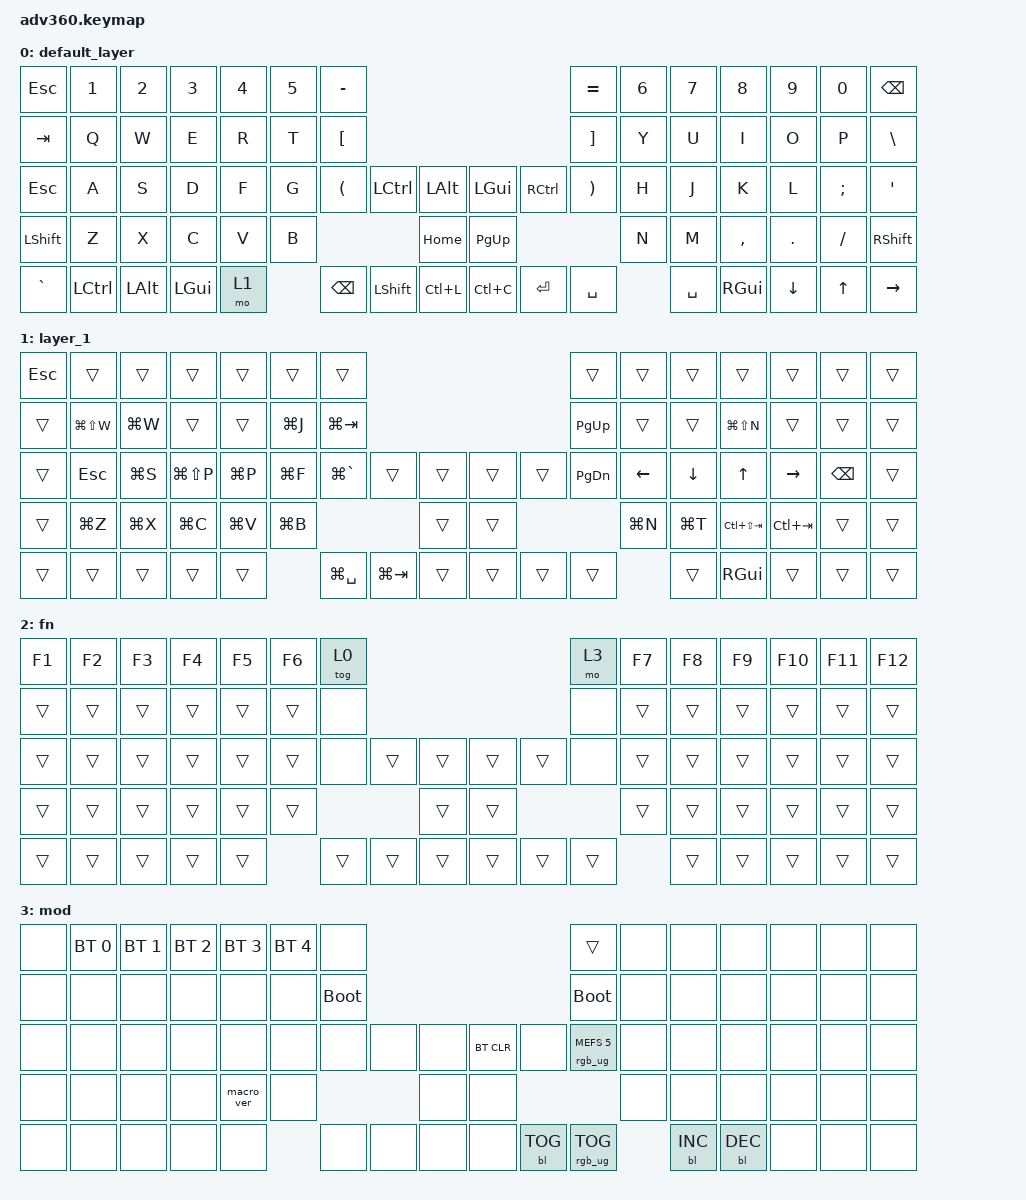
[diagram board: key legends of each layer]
#include <behaviors.dtsi>
#include <dt-bindings/zmk/backlight.h>
#include <dt-bindings/zmk/bt.h>
#include <dt-bindings/zmk/keys.h>
#include <dt-bindings/zmk/rgb.h>

/ {
    behaviors {
        #include "macros.dtsi"
      #include "version.dtsi"
      #ifndef VERSION_MACRO

        macro_ver: macro_ver {
            compatible = "zmk,behavior-macro";
            label = "macro_version";
            #binding-cells = <0>;
            bindings = <&kp RET>;
        };

        #endif

        hm: homerow_mods {
            compatible = "zmk,behavior-hold-tap";
            label = "HOMEROW_MODS";
            #binding-cells = <2>;
            tapping-term-ms = <200>;
            quick_tap_ms = <175>;
            flavor = "tap-preferred";
            bindings = <&kp>, <&kp>;
        };
    };

    macros {
    };

    combos {
        compatible = "zmk,combos";

        Layer1 {
            bindings = <&sl 1>;
            key-positions = <41 42>;
        };
    };

    keymap {
        compatible = "zmk,keymap";

        default_layer {
            bindings = <
&kp ESC    &kp N1            &kp N2    &kp N3    &kp N4  &kp N5  &kp MINUS                                                                  &kp EQUAL              &kp N6  &kp N7     &kp N8     &kp N9    &kp N0        &kp BACKSPACE
&kp TAB    &kp Q             &kp W     &kp E     &kp R   &kp T   &kp LEFT_BRACKET                                                           &kp RIGHT_BRACKET      &kp Y   &kp U      &kp I      &kp O     &kp P         &kp BSLH
&kp ESC    &kp A             &kp S     &kp D     &kp F   &kp G   &kp LEFT_PARENTHESIS  &kp LCTRL       &kp LALT       &kp LGUI   &kp RCTRL  &kp RIGHT_PARENTHESIS  &kp H   &kp J      &kp K      &kp L     &kp SEMI      &kp SQT
&kp LSHFT  &kp Z             &kp X     &kp C     &kp V   &kp B                                         &kp HOME       &kp PG_UP                                    &kp N   &kp M      &kp COMMA  &kp DOT   &kp FSLH      &kp RSHFT
&kp GRAVE  &kp LEFT_CONTROL  &kp LALT  &kp LGUI  &mo 1           &kp BACKSPACE         &kp LEFT_SHIFT  &kp LC(L)      &kp LC(C)  &kp ENTER  &kp SPACE                      &kp SPACE  &kp RGUI   &kp DOWN  &kp UP_ARROW  &kp RIGHT
            >;
        };

        layer_1 {
            bindings = <
&kp ESC  &trans         &trans     &trans         &trans     &trans     &trans                                                  &trans         &trans     &trans     &trans           &trans       &trans         &trans
&trans   &kp LG(LS(W))  &kp LG(W)  &trans         &trans     &kp LG(J)  &kp LG(TAB)                                             &kp PAGE_UP    &trans     &trans     &kp LG(LS(N))    &trans       &trans         &trans
&trans   &kp ESC        &kp LG(S)  &kp LG(LS(P))  &kp LG(P)  &kp LG(F)  &kp LG(GRAVE)  &trans       &trans      &trans  &trans  &kp PAGE_DOWN  &kp LEFT   &kp DOWN   &kp UP_ARROW     &kp RIGHT    &kp BACKSPACE  &trans
&trans   &kp LG(Z)      &kp LG(X)  &kp LG(C)      &kp LG(V)  &kp LG(B)                              &trans      &trans                         &kp LG(N)  &kp LG(T)  &kp LC(LS(TAB))  &kp LC(TAB)  &trans         &trans
&trans   &trans         &trans     &trans         &trans                &kp LG(SPACE)  &kp LG(TAB)  &trans      &trans  &trans  &trans                    &trans     &kp RGUI         &trans       &trans         &trans
            >;
        };

        fn {
            bindings = <
&kp F1  &kp F2  &kp F3  &kp F4  &kp F5  &kp F6  &tog 0                                      &mo 3   &kp F7  &kp F8  &kp F9  &kp F10  &kp F11  &kp F12
&trans  &trans  &trans  &trans  &trans  &trans  &none                                       &none   &trans  &trans  &trans  &trans   &trans   &trans
&trans  &trans  &trans  &trans  &trans  &trans  &none   &trans  &trans      &trans  &trans  &none   &trans  &trans  &trans  &trans   &trans   &trans
&trans  &trans  &trans  &trans  &trans  &trans                  &trans      &trans                  &trans  &trans  &trans  &trans   &trans   &trans
&trans  &trans  &trans  &trans  &trans          &trans  &trans  &trans      &trans  &trans  &trans          &trans  &trans  &trans   &trans   &trans
            >;
        };

        mod {
            bindings = <
&none  &bt BT_SEL 0  &bt BT_SEL 1  &bt BT_SEL 2  &bt BT_SEL 3  &bt BT_SEL 4  &none                                                  &trans                  &none  &none       &none       &none  &none  &none
&none  &none         &none         &none         &none         &none         &bootloader                                            &bootloader             &none  &none       &none       &none  &none  &none
&none  &none         &none         &none         &none         &none         &none        &none  &none      &bt BT_CLR  &none       &rgb_ug RGB_MEFS_CMD 5  &none  &none       &none       &none  &none  &none
&none  &none         &none         &none         &macro_ver    &none                             &none      &none                                           &none  &none       &none       &none  &none  &none
&none  &none         &none         &none         &none                       &none        &none  &none      &none       &bl BL_TOG  &rgb_ug RGB_TOG                &bl BL_INC  &bl BL_DEC  &none  &none  &none
            >;
        };
    };
};
